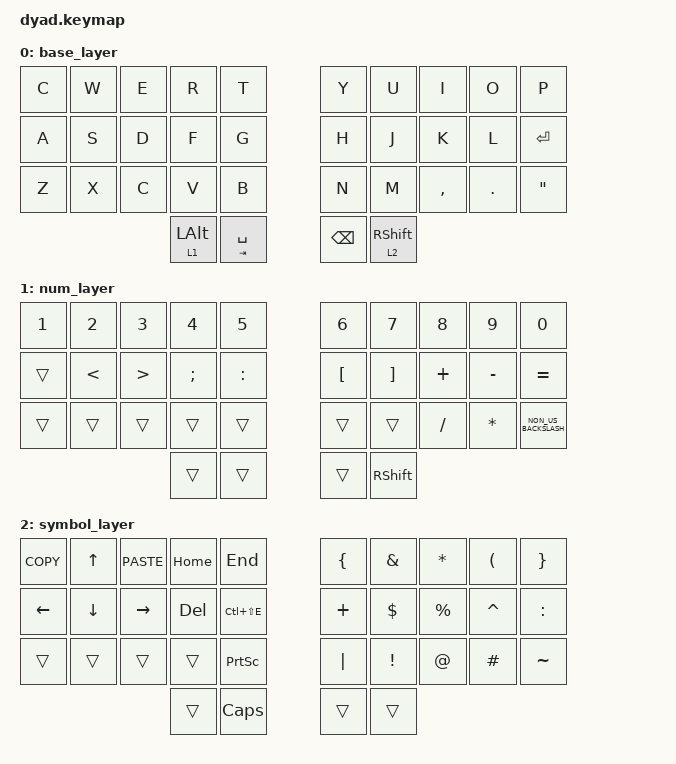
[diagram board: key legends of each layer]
#define ZMK_POINTING_DEFAULT_MOVE_VAL 1200  // default: 600
#define ZMK_POINTING_DEFAULT_SCRL_VAL 20    // default: 10

#include <dt-bindings/zmk/mouse.h>
#include <behaviors.dtsi>
#include <dt-bindings/zmk/keys.h>

&mt {
    tapping-term-ms = <120>;
    flavor = "tap-preferred";
};

/ {
    combos { compatible = "zmk,combos"; };

    macros {
        pin_macro: pin_macro {
            compatible = "zmk,behavior-macro";
            #binding-cells = <0>;
            bindings = <>;
            label = "PIN_MACRO";
        };
    };

    keymap {
        compatible = "zmk,keymap";

        base_layer {
            // -----------------------------------------------------------------------------------------
            // |  TAB |  Q  |  W  |  E  |  R  |  T  |   |  Y  |  U   |  I  |  O  |  P  | BSPC |
            // | CTRL |  A  |  S  |  D  |  F  |  G  |   |  H  |  J   |  K  |  L  |  ;  |  '   |
            // | SHFT |  Z  |  X  |  C  |  V  |  B  |   |  N  |  M   |  ,  |  .  |  /  | ESC  |
            //                    | GUI | LWR | SPC |   | ENT | RSE  | ALT |

            bindings = <
&kp C  &kp W  &kp E  &kp R           &kp T            &kp Y          &kp U              &kp I      &kp O       &kp P
&kp A  &kp S  &kp D  &kp F           &kp G            &kp H          &kp J              &kp K      &kp L       &kp RET
&kp Z  &kp X  &kp C  &kp V           &kp B            &kp N          &kp M              &kp COMMA  &kp PERIOD  &kp DOUBLE_QUOTES
                     &lt 1 LEFT_ALT  &mt TAB SPACE    &kp BACKSPACE  &lt 2 RIGHT_SHIFT
            >;
        };

        num_layer {
            // -----------------------------------------------------------------------------------------
            // |  TAB |  1  |  2  |  3  |  4  |  5  |   |  6  |  7  |  8  |  9  |  0  | BSPC |
            // | BTCLR| BT1 | BT2 | BT3 | BT4 | BT5 |   | LFT | DWN |  UP | RGT |     |      |
            // | SHFT |     |     |     |     |     |   |     |     |     |     |     |      |
            //                    | GUI |     | SPC |   | ENT |     | ALT |

            bindings = <
&kp NUMBER_1  &kp NUMBER_2   &kp NUMBER_3      &kp NUMBER_4   &kp N5       &kp NUMBER_6      &kp N7             &kp N8     &kp N9        &kp NUMBER_0
&trans        &kp LESS_THAN  &kp GREATER_THAN  &kp SEMICOLON  &kp COLON    &kp LEFT_BRACKET  &kp RIGHT_BRACKET  &kp PLUS   &kp MINUS     &kp EQUAL
&trans        &trans         &trans            &trans         &trans       &trans            &trans             &kp SLASH  &kp ASTERISK  &kp NON_US_BACKSLASH
                                               &trans         &trans       &trans            &kp RIGHT_SHIFT
            >;
        };

        symbol_layer {
            bindings = <
&kp K_COPY  &kp UP_ARROW    &kp K_PASTE  &kp HOME    &kp END            &kp LEFT_BRACE  &kp AMPERSAND    &kp ASTERISK  &kp LEFT_PARENTHESIS  &kp RIGHT_BRACE
&kp LEFT    &kp DOWN_ARROW  &kp RIGHT    &kp DELETE  &kp LC(LS(E))      &kp PLUS        &kp DOLLAR       &kp PERCENT   &kp CARET             &kp COLON
&trans      &trans          &trans       &trans      &kp PRINTSCREEN    &kp PIPE        &kp EXCLAMATION  &kp AT_SIGN   &kp HASH              &kp TILDE
                                         &trans      &kp CAPS           &trans          &trans
            >;
        };
    };
};
